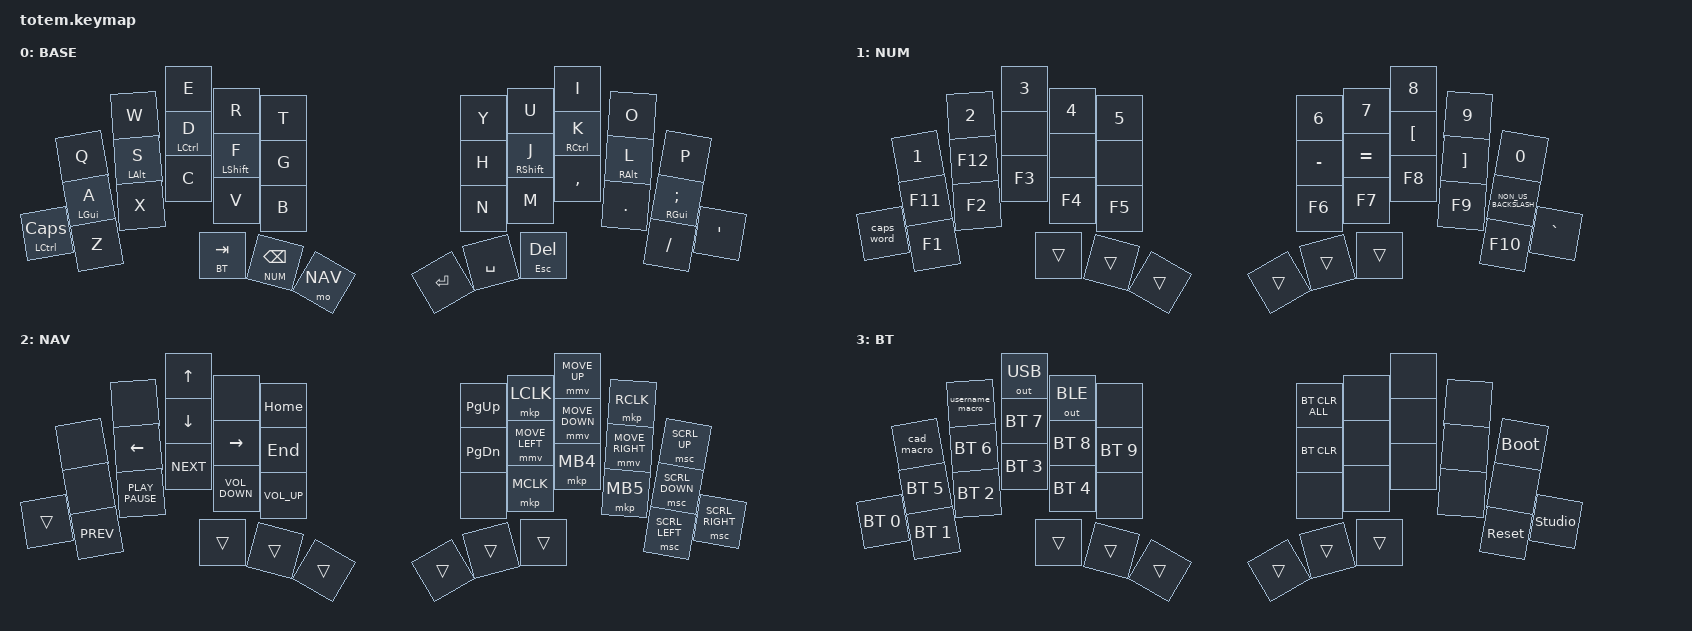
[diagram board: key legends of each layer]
//
// TOTEM — Silso custom 38-key layout
// Updated from Nick Coutsos Keymap Editor output:
// - Diagrams updated to match actual bindings
// - Semantic layer names cleaned without changing layer behavior
// - Ctrl+Alt+Delete macro added at BT + Q
// - Username macro "10.Yojimbo" added at BT + W
// - 10 direct Bluetooth profile selectors added
// - BT + Y = clear all profiles; BT + H = clear current profile
//

#include <behaviors.dtsi>
#include <dt-bindings/zmk/bt.h>
#include <dt-bindings/zmk/keys.h>
#include <dt-bindings/zmk/outputs.h>
#include <dt-bindings/zmk/pointing.h>

#define BASE 0
#define NUM  1
#define NAV  2
#define BT   3

/*
 * Retained for the outer Caps/Ctrl binding and the current right-thumb
 * tap/hold binding. Letter HRMs use HML/HMR below to match the Typeractive.
 */
&mt {
    quick-tap-ms = <100>;
    global-quick-tap;
    flavor = "tap-preferred";
    tapping-term-ms = <170>;
};

/ {
    behaviors {
        /*
         * Home-row mods matched to the Typeractive Corne.
         * Applied only to A/S/D/F and J/K/L/; on the Base layer.
         */
        hml: homerow_mod_left {
            compatible = "zmk,behavior-hold-tap";
            label = "HML";
            #binding-cells = <2>;
            flavor = "balanced";
            tapping-term-ms = <280>;
            quick-tap-ms = <175>;
            require-prior-idle-ms = <150>;
            bindings = <&kp>, <&kp>;
        };

        hmr: homerow_mod_right {
            compatible = "zmk,behavior-hold-tap";
            label = "HMR";
            #binding-cells = <2>;
            flavor = "balanced";
            tapping-term-ms = <280>;
            quick-tap-ms = <175>;
            require-prior-idle-ms = <150>;
            bindings = <&kp>, <&kp>;
        };
    };

    combos {
        compatible = "zmk,combos";

        combo_esc {
            timeout-ms = <50>;
            key-positions = <0 1>;
            bindings = <&kp ESC>;
        };
    };

    macros {
        gif: gif {
            label = "giphy";
            compatible = "zmk,behavior-macro";
            #binding-cells = <0>;
            bindings =
                <&macro_press>,
                <&kp LSHFT>,
                <&macro_tap>,
                <&kp N2>,
                <&macro_release>,
                <&kp LSHFT>,
                <&macro_tap>,
                <&kp G &kp I &kp F>;
        };

        cad_macro: cad_macro {
            label = "Ctrl Alt Delete";
            compatible = "zmk,behavior-macro";
            #binding-cells = <0>;
            bindings =
                <&macro_press &kp LCTRL &kp LALT>,
                <&macro_tap &kp DEL>,
                <&macro_release &kp LCTRL &kp LALT>;
        };

        username_macro: username_macro {
            label = "10.Yojimbo";
            compatible = "zmk,behavior-macro";
            #binding-cells = <0>;
            wait-ms = <40>;
            tap-ms = <40>;
            bindings =
                <&kp N1 &kp N0 &kp DOT &kp LS(Y) &kp O &kp J &kp I &kp M &kp B &kp O>;
        };
    };

    keymap {
        compatible = "zmk,keymap";

        base_layer {
            label = "BASE";

            //             ┏━━━━━━━━━━━┳━━━━━━━━━━━┳━━━━━━━━━━━┳━━━━━━━━━━━┳━━━━━━━━━━━┓   ┏━━━━━━━━━━━┳━━━━━━━━━━━┳━━━━━━━━━━━┳━━━━━━━━━━━┳━━━━━━━━━━━┓
            //             ┃     Q     ┃     W     ┃     E     ┃     R     ┃     T     ┃   ┃     Y     ┃     U     ┃     I     ┃     O     ┃     P     ┃
            //             ┣━━━━━━━━━━━╋━━━━━━━━━━━╋━━━━━━━━━━━╋━━━━━━━━━━━╋━━━━━━━━━━━┫   ┣━━━━━━━━━━━╋━━━━━━━━━━━╋━━━━━━━━━━━╋━━━━━━━━━━━╋━━━━━━━━━━━┫
            //             ┃   A/GUI   ┃   S/ALT   ┃  D/CTRL   ┃  F/SHIFT  ┃     G     ┃   ┃     H     ┃  J/SHIFT  ┃  K/CTRL   ┃   L/ALT   ┃   ;/GUI   ┃
            // ┏━━━━━━━━━━━╋━━━━━━━━━━━╋━━━━━━━━━━━╋━━━━━━━━━━━╋━━━━━━━━━━━╋━━━━━━━━━━━┫   ┣━━━━━━━━━━━╋━━━━━━━━━━━╋━━━━━━━━━━━╋━━━━━━━━━━━╋━━━━━━━━━━━╋━━━━━━━━━━━┓
            // ┃CAPS/CTRL  ┃     Z     ┃     X     ┃     C     ┃     V     ┃     B     ┃   ┃     N     ┃     M     ┃     ,     ┃     .     ┃     /     ┃     '     ┃
            // ┗━━━━━━━━━━━┻━━━━━━━━━━━┻━━━━━━━━━━━╋━━━━━━━━━━━╋━━━━━━━━━━━╋━━━━━━━━━━━┫   ┣━━━━━━━━━━━╋━━━━━━━━━━━╋━━━━━━━━━━━┻━━━━━━━━━━━┻━━━━━━━━━━━┻━━━━━━━━━━━┛
            //                                     ┃  TAB/BT   ┃ BSPC/NUM  ┃    NAV    ┃   ┃   ENTER   ┃   SPACE   ┃  DEL/ESC  ┃
            //                                     ┗━━━━━━━━━━━┻━━━━━━━━━━━┻━━━━━━━━━━━┛   ┗━━━━━━━━━━━┻━━━━━━━━━━━┻━━━━━━━━━━━┛
            //
            // Thumb notation is tap / hold:
            // TAB/BT = tap Tab, hold BT; BSPC/NUM = tap Backspace, hold Num;
            // NAV = Nav/Mouse layer only; DEL/ESC = tap Delete, hold Escape.

            bindings = <
                           &kp Q                    &kp W       &kp E        &kp R          &kp T            &kp Y      &kp U        &kp I        &kp O       &kp P
                           &hml LGUI A               &hml LALT S  &hml LCTRL D  &hml LSHIFT F    &kp G            &kp H      &hmr RSHIFT J  &hmr RCTRL K  &hmr RALT L  &hmr RGUI SEMI
&mt LEFT_CONTROL CAPSLOCK  &kp Z                    &kp X       &kp C        &kp V          &kp B            &kp N      &kp M        &kp COMMA    &kp DOT     &kp SLASH      &kp APOS
                                                   &lt BT TAB    &lt NUM BACKSPACE &mo NAV       &kp ENTER        &kp SPACE  &mt ESC DEL
            >;
        };

        num_layer {
            label = "NUM";

            //             ┏━━━━━━━━━━━┳━━━━━━━━━━━┳━━━━━━━━━━━┳━━━━━━━━━━━┳━━━━━━━━━━━┓   ┏━━━━━━━━━━━┳━━━━━━━━━━━┳━━━━━━━━━━━┳━━━━━━━━━━━┳━━━━━━━━━━━┓
            //             ┃     1     ┃     2     ┃     3     ┃     4     ┃     5     ┃   ┃     6     ┃     7     ┃     8     ┃     9     ┃     0     ┃
            //             ┣━━━━━━━━━━━╋━━━━━━━━━━━╋━━━━━━━━━━━╋━━━━━━━━━━━╋━━━━━━━━━━━┫   ┣━━━━━━━━━━━╋━━━━━━━━━━━╋━━━━━━━━━━━╋━━━━━━━━━━━╋━━━━━━━━━━━┫
            //             ┃    F11    ┃    F12    ┃           ┃           ┃           ┃   ┃     -     ┃     =     ┃     [     ┃     ]     ┃     \     ┃
            // ┏━━━━━━━━━━━╋━━━━━━━━━━━╋━━━━━━━━━━━╋━━━━━━━━━━━╋━━━━━━━━━━━╋━━━━━━━━━━━┫   ┣━━━━━━━━━━━╋━━━━━━━━━━━╋━━━━━━━━━━━╋━━━━━━━━━━━╋━━━━━━━━━━━╋━━━━━━━━━━━┓
            // ┃ CAPS WORD ┃    F1     ┃    F2     ┃    F3     ┃    F4     ┃    F5     ┃   ┃    F6     ┃    F7     ┃    F8     ┃    F9     ┃    F10    ┃     `     ┃
            // ┗━━━━━━━━━━━┻━━━━━━━━━━━┻━━━━━━━━━━━╋━━━━━━━━━━━╋━━━━━━━━━━━╋━━━━━━━━━━━┫   ┣━━━━━━━━━━━╋━━━━━━━━━━━╋━━━━━━━━━━━┻━━━━━━━━━━━┻━━━━━━━━━━━┻━━━━━━━━━━━┛
            //                                     ┃    PASS   ┃    PASS   ┃    PASS   ┃   ┃    PASS   ┃    PASS   ┃    PASS   ┃
            //                                     ┗━━━━━━━━━━━┻━━━━━━━━━━━┻━━━━━━━━━━━┛   ┗━━━━━━━━━━━┻━━━━━━━━━━━┻━━━━━━━━━━━┛

            bindings = <
            &kp NUMBER_1  &kp NUMBER_2  &kp NUMBER_3  &kp NUMBER_4  &kp NUMBER_5    &kp NUMBER_6  &kp N7     &kp N8            &kp N9             &kp NUMBER_0
            &kp F11       &kp F12       &none         &none         &none           &kp MINUS     &kp EQUAL  &kp LEFT_BRACKET  &kp RIGHT_BRACKET  &kp NON_US_BACKSLASH
&caps_word  &kp F1        &kp F2        &kp F3        &kp F4        &kp F5          &kp F6        &kp F7     &kp F8            &kp F9             &kp F10               &kp GRAVE
                                        &trans        &trans        &trans          &trans        &trans     &trans
            >;
        };

        nav_layer {
            label = "NAV";

            //             ┏━━━━━━━━━━━┳━━━━━━━━━━━┳━━━━━━━━━━━┳━━━━━━━━━━━┳━━━━━━━━━━━┓   ┏━━━━━━━━━━━┳━━━━━━━━━━━┳━━━━━━━━━━━┳━━━━━━━━━━━┳━━━━━━━━━━━┓
            //             ┃           ┃           ┃    UP     ┃           ┃   HOME    ┃   ┃  PAGE UP  ┃ LEFT CLICK┃ MOUSE UP  ┃RIGHT CLICK┃ SCROLL UP ┃
            //             ┣━━━━━━━━━━━╋━━━━━━━━━━━╋━━━━━━━━━━━╋━━━━━━━━━━━╋━━━━━━━━━━━┫   ┣━━━━━━━━━━━╋━━━━━━━━━━━╋━━━━━━━━━━━╋━━━━━━━━━━━╋━━━━━━━━━━━┫
            //             ┃           ┃   LEFT    ┃   DOWN    ┃   RIGHT   ┃    END    ┃   ┃ PAGE DOWN ┃MOUSE LEFT ┃MOUSE DOWN ┃MOUSE RIGHT┃SCROLL DOWN┃
            // ┏━━━━━━━━━━━╋━━━━━━━━━━━╋━━━━━━━━━━━╋━━━━━━━━━━━╋━━━━━━━━━━━╋━━━━━━━━━━━┫   ┣━━━━━━━━━━━╋━━━━━━━━━━━╋━━━━━━━━━━━╋━━━━━━━━━━━╋━━━━━━━━━━━╋━━━━━━━━━━━┓
            // ┃   PASS    ┃   PREV    ┃ PLAY/PAUSE┃   NEXT    ┃   VOL-    ┃   VOL+    ┃   ┃           ┃MID CLICK  ┃    MB4    ┃    MB5    ┃SCROLL LEFT┃SCROLL RGHT┃
            // ┗━━━━━━━━━━━┻━━━━━━━━━━━┻━━━━━━━━━━━╋━━━━━━━━━━━╋━━━━━━━━━━━╋━━━━━━━━━━━┫   ┣━━━━━━━━━━━╋━━━━━━━━━━━╋━━━━━━━━━━━┻━━━━━━━━━━━┻━━━━━━━━━━━┻━━━━━━━━━━━┛
            //                                     ┃    PASS   ┃    PASS   ┃    PASS   ┃   ┃    PASS   ┃    PASS   ┃    PASS   ┃
            //                                     ┗━━━━━━━━━━━┻━━━━━━━━━━━┻━━━━━━━━━━━┛   ┗━━━━━━━━━━━┻━━━━━━━━━━━┻━━━━━━━━━━━┛

            bindings = <
        &none       &none              &kp UP_ARROW    &none              &kp HOME           &kp PG_UP      &mkp LCLK       &mmv MOVE_UP    &mkp RCLK        &msc SCRL_UP
        &none       &kp LEFT           &kp DOWN        &kp RIGHT          &kp END            &kp PAGE_DOWN  &mmv MOVE_LEFT  &mmv MOVE_DOWN  &mmv MOVE_RIGHT  &msc SCRL_DOWN
&trans  &kp K_PREV  &kp K_PLAY_PAUSE  &kp K_NEXT      &kp C_VOLUME_DOWN  &kp C_VOLUME_UP    &none          &mkp MCLK       &mkp MB4        &mkp MB5         &msc SCRL_LEFT  &msc SCRL_RIGHT
                                      &trans           &trans             &trans             &trans         &trans          &trans
            >;
        };

        bt_layer {
            label = "BT";

            //             ┏━━━━━━━━━━━┳━━━━━━━━━━━┳━━━━━━━━━━━┳━━━━━━━━━━━┳━━━━━━━━━━━┓   ┏━━━━━━━━━━━┳━━━━━━━━━━━┳━━━━━━━━━━━┳━━━━━━━━━━━┳━━━━━━━━━━━┓
            //             ┃ CTRLALTDEL┃10.YOJIMBO ┃ USB OUT   ┃ BT OUT    ┃           ┃   ┃ CLR ALL BT┃           ┃           ┃           ┃BOOTLOADER ┃
            //             ┣━━━━━━━━━━━╋━━━━━━━━━━━╋━━━━━━━━━━━╋━━━━━━━━━━━╋━━━━━━━━━━━┫   ┣━━━━━━━━━━━╋━━━━━━━━━━━╋━━━━━━━━━━━╋━━━━━━━━━━━╋━━━━━━━━━━━┫
            //             ┃    BT6    ┃    BT7    ┃    BT8    ┃    BT9    ┃   BT10    ┃   ┃ CLR CUR BT┃           ┃           ┃           ┃           ┃
            // ┏━━━━━━━━━━━╋━━━━━━━━━━━╋━━━━━━━━━━━╋━━━━━━━━━━━╋━━━━━━━━━━━╋━━━━━━━━━━━┫   ┣━━━━━━━━━━━╋━━━━━━━━━━━╋━━━━━━━━━━━╋━━━━━━━━━━━╋━━━━━━━━━━━╋━━━━━━━━━━━┓
            // ┃    BT1    ┃    BT2    ┃    BT3    ┃    BT4    ┃    BT5    ┃           ┃   ┃           ┃           ┃           ┃           ┃ SYS RESET ┃STUDIO UNLK┃
            // ┗━━━━━━━━━━━┻━━━━━━━━━━━┻━━━━━━━━━━━╋━━━━━━━━━━━╋━━━━━━━━━━━╋━━━━━━━━━━━┫   ┣━━━━━━━━━━━╋━━━━━━━━━━━╋━━━━━━━━━━━┻━━━━━━━━━━━┻━━━━━━━━━━━┻━━━━━━━━━━━┛
            //                                     ┃    PASS   ┃    PASS   ┃    PASS   ┃   ┃    PASS   ┃    PASS   ┃    PASS   ┃
            //                                     ┗━━━━━━━━━━━┻━━━━━━━━━━━┻━━━━━━━━━━━┛   ┗━━━━━━━━━━━┻━━━━━━━━━━━┻━━━━━━━━━━━┛
            //
            // All ten Bluetooth profile selectors stay on the left half:
            // outer-left = BT1, Z = BT2, X = BT3, C = BT4, V = BT5;
            // A = BT6, S = BT7, D = BT8, F = BT9, G = BT10.
            //
            // Required controls:
            // E position = explicitly route output to USB-C
            // R position = explicitly route output to Bluetooth
            // Y position = clear all Bluetooth profiles
            // H position = clear only the currently selected Bluetooth profile

            bindings = <
              &cad_macro     &username_macro  &out OUT_USB  &out OUT_BLE  &none         &bt BT_CLR_ALL  &none         &none         &none         &bootloader
              &bt BT_SEL 5   &bt BT_SEL 6     &bt BT_SEL 7  &bt BT_SEL 8  &bt BT_SEL 9  &bt BT_CLR      &none         &none         &none         &none
&bt BT_SEL 0  &bt BT_SEL 1   &bt BT_SEL 2    &bt BT_SEL 3  &bt BT_SEL 4  &none          &none         &none         &none         &none         &sys_reset  &studio_unlock
                                            &trans         &trans        &trans        &trans          &trans        &trans
            >;
        };
    };
};
